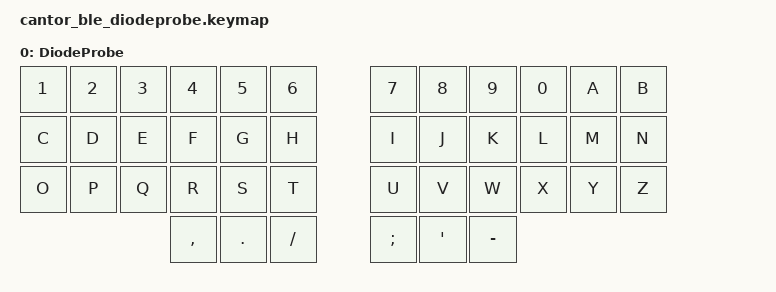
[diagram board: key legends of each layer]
/* Same letter map as the matrix probe:
 *   1 2 3 4 5 6   7 8 9 0 a b
 *   c d e f g h   i j k l m n
 *   o p q r s t   u v w x y z
 *       , . /     ; ' -
 */

#include <behaviors.dtsi>
#include <dt-bindings/zmk/keys.h>

/ {
  keymap {
    compatible = "zmk,keymap";
    probe_layer {
      display-name = "DiodeProbe";
      bindings = <
        &kp N1    &kp N2  &kp N3   &kp N4   &kp N5    &kp N6      &kp N7    &kp N8   &kp N9    &kp N0  &kp A  &kp B
        &kp C     &kp D   &kp E    &kp F    &kp G     &kp H       &kp I     &kp J    &kp K     &kp L   &kp M  &kp N
        &kp O     &kp P   &kp Q    &kp R    &kp S     &kp T       &kp U     &kp V    &kp W     &kp X   &kp Y  &kp Z
                          &kp COMMA &kp DOT &kp FSLH              &kp SEMI  &kp SQT  &kp MINUS
      >;
    };
  };
};
